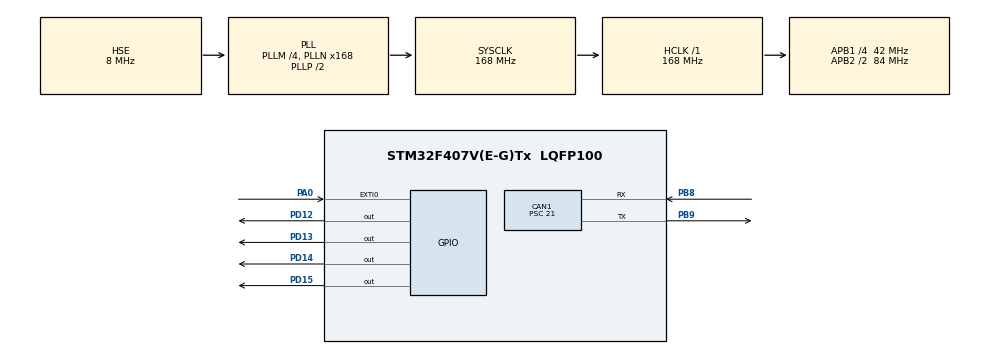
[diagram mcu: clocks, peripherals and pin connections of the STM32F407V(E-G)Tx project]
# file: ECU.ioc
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CAN1.BS1=CAN_BS1_2TQ
CAN1.CalculateBaudRate=500000
CAN1.CalculateTimeBit=2000
CAN1.CalculateTimeQuantum=500.0
CAN1.NART=ENABLE
CAN1.Prescaler=21
Mcu.Family=STM32F4
Mcu.Name=STM32F407V(E-G)Tx
Mcu.Package=LQFP100
NVIC.CAN1_RX1_IRQn=true\:0\:0\:false\:false\:true\:true\:true\:true
NVIC.PriorityGroup=NVIC_PRIORITYGROUP_0
PA0-WKUP.Signal=GPXTI0
PA13.Mode=Serial_Wire
PA13.Signal=SYS_JTMS-SWDIO
PA14.Mode=Serial_Wire
PA14.Signal=SYS_JTCK-SWCLK
PB8.GPIO_PuPd=GPIO_PULLUP
PB8.Mode=CAN_Activate
PB8.Signal=CAN1_RX
PB9.Mode=CAN_Activate
PB9.Signal=CAN1_TX
PD12.Signal=GPIO_Output
PD13.Signal=GPIO_Output
PD14.Signal=GPIO_Output
PD15.Signal=GPIO_Output
PH0-OSC_IN.Mode=HSE-External-Oscillator
PH0-OSC_IN.Signal=RCC_OSC_IN
PH1-OSC_OUT.Mode=HSE-External-Oscillator
PH1-OSC_OUT.Signal=RCC_OSC_OUT
ProjectManager.HeapSize=0x200
ProjectManager.StackSize=0x400
ProjectManager.TargetToolchain=STM32CubeIDE
RCC.48MHZClocksFreq_Value=48000000
RCC.AHBFreq_Value=168000000
RCC.APB1CLKDivider=RCC_HCLK_DIV4
RCC.APB1Freq_Value=42000000
RCC.APB1TimFreq_Value=84000000
RCC.APB2CLKDivider=RCC_HCLK_DIV2
RCC.APB2Freq_Value=84000000
RCC.APB2TimFreq_Value=168000000
RCC.CortexFreq_Value=168000000
RCC.HCLKFreq_Value=168000000
RCC.HSE_VALUE=8000000
RCC.HSI_VALUE=16000000
RCC.LSE_VALUE=32768
RCC.PLLM=4
RCC.PLLN=168
RCC.PLLQ=7
RCC.PLLSourceVirtual=RCC_PLLSOURCE_HSE
RCC.SYSCLKFreq_VALUE=168000000
RCC.SYSCLKSource=RCC_SYSCLKSOURCE_PLLCLK
RCC.VCOOutputFreq_Value=336000000
board=STM32F407G-DISC1

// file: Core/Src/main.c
/* USER CODE BEGIN Header */
/**
  ******************************************************************************
  * @file           : main.c
  * @brief          : Main program body
  ******************************************************************************
  * @attention
  *
  * Copyright (c) 2024 STMicroelectronics.
  * All rights reserved.
  *
  * This software is licensed under terms that can be found in the LICENSE file
  * in the root directory of this software component.
  * If no LICENSE file comes with this software, it is provided AS-IS.
  *
  ******************************************************************************
  */
/* USER CODE END Header */
#include "main.h"

CAN_HandleTypeDef hcan1;

void SystemClock_Config(void);
static void MX_GPIO_Init(void);
static void MX_CAN1_Init(void);

/* USER CODE BEGIN 0 */
CAN_TxHeaderTypeDef TxHeader;
CAN_RxHeaderTypeDef RxHeader;

uint8_t TxData[8];
uint8_t RxData[8];

uint32_t TxMailbox;

uint8_t datacheck = 0;

uint8_t mapaACT = 1;
uint8_t TC = 0; //Traction control
uint8_t LC = 0; //Launch control

void SEND_MESSAGE(){ //Mandar una secuencia de datos u otra segun el mapa activo
	 TxHeader.DLC = 2; //Data length
	 TxHeader.IDE = CAN_ID_STD;
	 TxHeader.RTR = CAN_RTR_DATA;
	 TxHeader.StdId = 0x103; //ID

    switch (mapaACT){
    case 1:
    	TxData[0] = 0x81;
    	break;
    case 2:
    	TxData[0] = 0x82;
    	break;
    case 3:
    	TxData[0] = 0x84;
    	break;
    case 4:
    	TxData[0] = 0x88;
    	break;
    case 5:
    	TxData[0] = 0x90;
    	break;
    }

    if (TC == 0 && LC == 0){
    	TxData[1] = 0x80;
    } else if (TC == 1 && LC == 0){
    	TxData[1] = 0x81;
    } else if (TC == 0 && LC == 1){
        TxData[1] = 0x82;
    } else if (TC == 1 && LC == 1){
    	TxData[1] = 0x83;
    }

	HAL_CAN_AddTxMessage(&hcan1, &TxHeader, TxData, &TxMailbox);
}//<-- falta traction y launch control

void RECEIVE_MESSAGE(){
	switch (RxData[0]){
	    case 0x01:
	    	HAL_GPIO_WritePin(GPIOD, GPIO_PIN_14, 1);
	    	HAL_GPIO_WritePin(GPIOD, GPIO_PIN_13, 0);
	    	HAL_GPIO_WritePin(GPIOD, GPIO_PIN_12, 0);
	    	HAL_GPIO_WritePin(GPIOD, GPIO_PIN_11, 0);
	    	HAL_GPIO_WritePin(GPIOD, GPIO_PIN_10, 0);
	    	mapaACT = 1;
	    	break;
	    case 0x02:
	    	HAL_GPIO_WritePin(GPIOD, GPIO_PIN_13, 1);
	    	HAL_GPIO_WritePin(GPIOD, GPIO_PIN_14, 0);
	    	HAL_GPIO_WritePin(GPIOD, GPIO_PIN_12, 0);
	    	HAL_GPIO_WritePin(GPIOD, GPIO_PIN_11, 0);
	    	HAL_GPIO_WritePin(GPIOD, GPIO_PIN_10, 0);
	    	mapaACT = 2;
	    	break;
	    case 0x04:
	    	HAL_GPIO_WritePin(GPIOD, GPIO_PIN_12, 1);
	    	HAL_GPIO_WritePin(GPIOD, GPIO_PIN_13, 0);
	    	HAL_GPIO_WritePin(GPIOD, GPIO_PIN_14, 0);
	    	HAL_GPIO_WritePin(GPIOD, GPIO_PIN_11, 0);
	    	HAL_GPIO_WritePin(GPIOD, GPIO_PIN_10, 0);
	    	mapaACT = 3;
	    	break;
	    case 0x08:
	    	HAL_GPIO_WritePin(GPIOD, GPIO_PIN_11, 1);
	    	HAL_GPIO_WritePin(GPIOD, GPIO_PIN_13, 0);
	    	HAL_GPIO_WritePin(GPIOD, GPIO_PIN_12, 0);
	    	HAL_GPIO_WritePin(GPIOD, GPIO_PIN_14, 0);
	    	HAL_GPIO_WritePin(GPIOD, GPIO_PIN_10, 0);
	    	mapaACT = 4;
	    	break;
	    case 0x10:
	    	HAL_GPIO_WritePin(GPIOD, GPIO_PIN_10, 1);
	    	HAL_GPIO_WritePin(GPIOD, GPIO_PIN_13, 0);
	    	HAL_GPIO_WritePin(GPIOD, GPIO_PIN_12, 0);
	    	HAL_GPIO_WritePin(GPIOD, GPIO_PIN_11, 0);
	    	HAL_GPIO_WritePin(GPIOD, GPIO_PIN_14, 0);
	    	mapaACT = 5;
	    	break;
	}

	switch (RxData[1]){
	    case 0x00:
	    	HAL_GPIO_WritePin(GPIOD, GPIO_PIN_8, 0);
	    	HAL_GPIO_WritePin(GPIOD, GPIO_PIN_9, 0);
	    	TC = 0;
	    	LC = 0;
	    	break;
	    case 0x01:
	    	HAL_GPIO_WritePin(GPIOD, GPIO_PIN_9, 1);
	    	HAL_GPIO_WritePin(GPIOD, GPIO_PIN_8, 0);
	    	TC = 1;
	    	LC = 0;
	    	break;
	    case 0x02:
	    	HAL_GPIO_WritePin(GPIOD, GPIO_PIN_8, 1);
	    	HAL_GPIO_WritePin(GPIOD, GPIO_PIN_9, 0);
	    	TC = 0;
	    	LC = 1;
	    	break;
	    case 0x03:
	    	HAL_GPIO_WritePin(GPIOD, GPIO_PIN_8, 1);
	    	HAL_GPIO_WritePin(GPIOD, GPIO_PIN_9, 1);
	    	TC = 1;
	    	LC = 1;
	    	break;
	}
	SEND_MESSAGE();
}

void HAL_CAN_RxFifo1MsgPendingCallback(CAN_HandleTypeDef *hcan){ //Para recibir mensajes del bus //<-- REVISAR hcan o hcan1
	HAL_CAN_GetRxMessage(hcan, CAN_RX_FIFO1, &RxHeader, RxData);
	if (RxHeader.DLC == 1){
		RECEIVE_MESSAGE();
	}
}

/* USER CODE END 0 */

int main(void)
{

  /* MCU Configuration--------------------------------------------------------*/

  /* Reset of all peripherals, Initializes the Flash interface and the Systick. */
  HAL_Init();

  /* Configure the system clock */
  SystemClock_Config();

  /* Initialize all configured peripherals */
  MX_GPIO_Init();
  MX_CAN1_Init();
  /* USER CODE BEGIN 2 */
  HAL_CAN_Start(&hcan1);

      //Activar la notificacion
      HAL_CAN_ActivateNotification(&hcan1, CAN_IT_RX_FIFO1_MSG_PENDING);

      HAL_GPIO_WritePin(GPIOD, GPIO_PIN_14, 1);

  /* USER CODE END 2 */

  /* Infinite loop */
  while (1)
  {

  }
}

void SystemClock_Config(void)
{
  RCC_OscInitTypeDef RCC_OscInitStruct = {0};
  RCC_ClkInitTypeDef RCC_ClkInitStruct = {0};

  /** Configure the main internal regulator output voltage
  */
  __HAL_RCC_PWR_CLK_ENABLE();
  __HAL_PWR_VOLTAGESCALING_CONFIG(PWR_REGULATOR_VOLTAGE_SCALE1);

  /** Initializes the RCC Oscillators according to the specified parameters
  * in the RCC_OscInitTypeDef structure.
  */
  RCC_OscInitStruct.OscillatorType = RCC_OSCILLATORTYPE_HSE;
  RCC_OscInitStruct.HSEState = RCC_HSE_ON;
  RCC_OscInitStruct.PLL.PLLState = RCC_PLL_ON;
  RCC_OscInitStruct.PLL.PLLSource = RCC_PLLSOURCE_HSE;
  RCC_OscInitStruct.PLL.PLLM = 4;
  RCC_OscInitStruct.PLL.PLLN = 168;
  RCC_OscInitStruct.PLL.PLLP = RCC_PLLP_DIV2;
  RCC_OscInitStruct.PLL.PLLQ = 7;
  if (HAL_RCC_OscConfig(&RCC_OscInitStruct) != HAL_OK)
  {
    Error_Handler();
  }

  /** Initializes the CPU, AHB and APB buses clocks
  */
  RCC_ClkInitStruct.ClockType = RCC_CLOCKTYPE_HCLK|RCC_CLOCKTYPE_SYSCLK
                              |RCC_CLOCKTYPE_PCLK1|RCC_CLOCKTYPE_PCLK2;
  RCC_ClkInitStruct.SYSCLKSource = RCC_SYSCLKSOURCE_PLLCLK;
  RCC_ClkInitStruct.AHBCLKDivider = RCC_SYSCLK_DIV1;
  RCC_ClkInitStruct.APB1CLKDivider = RCC_HCLK_DIV4;
  RCC_ClkInitStruct.APB2CLKDivider = RCC_HCLK_DIV2;

  if (HAL_RCC_ClockConfig(&RCC_ClkInitStruct, FLASH_LATENCY_5) != HAL_OK)
  {
    Error_Handler();
  }
}

static void MX_CAN1_Init(void)
{

  hcan1.Instance = CAN1;
  hcan1.Init.Prescaler = 21;
  hcan1.Init.Mode = CAN_MODE_NORMAL;
  hcan1.Init.SyncJumpWidth = CAN_SJW_1TQ;
  hcan1.Init.TimeSeg1 = CAN_BS1_2TQ;
  hcan1.Init.TimeSeg2 = CAN_BS2_1TQ;
  hcan1.Init.TimeTriggeredMode = DISABLE;
  hcan1.Init.AutoBusOff = DISABLE;
  hcan1.Init.AutoWakeUp = DISABLE;
  hcan1.Init.AutoRetransmission = ENABLE;
  hcan1.Init.ReceiveFifoLocked = DISABLE;
  hcan1.Init.TransmitFifoPriority = DISABLE;
  if (HAL_CAN_Init(&hcan1) != HAL_OK)
  {
    Error_Handler();
  }
  /* USER CODE BEGIN CAN1_Init 2 */
  CAN_FilterTypeDef canfilterconfig;

      canfilterconfig.FilterActivation = CAN_FILTER_ENABLE;
      canfilterconfig.FilterBank = 10; //which filter bank to use from the assigned ones
      canfilterconfig.FilterFIFOAssignment = CAN_FILTER_FIFO1;
      canfilterconfig.FilterIdHigh = 0x558<<5;
      canfilterconfig.FilterIdLow = 0x0000;
      canfilterconfig.FilterMaskIdHigh = 0x558<<5; //Escribo en la posicion 5
      canfilterconfig.FilterMaskIdLow = 0x0000;
      canfilterconfig.FilterMode = CAN_FILTERMODE_IDMASK;
      canfilterconfig.FilterScale = CAN_FILTERSCALE_32BIT;
      canfilterconfig.SlaveStartFilterBank = 18; //doesn't matter in single can controllers

      HAL_CAN_ConfigFilter(&hcan1, &canfilterconfig);
  /* USER CODE END CAN1_Init 2 */

}

static void MX_GPIO_Init(void)
{
  GPIO_InitTypeDef GPIO_InitStruct = {0};

  /* GPIO Ports Clock Enable */
  __HAL_RCC_GPIOH_CLK_ENABLE();
  __HAL_RCC_GPIOA_CLK_ENABLE();
  __HAL_RCC_GPIOD_CLK_ENABLE();
  __HAL_RCC_GPIOB_CLK_ENABLE();

  /*Configure GPIO pin Output Level */
  HAL_GPIO_WritePin(GPIOD, GPIO_PIN_12|GPIO_PIN_13|GPIO_PIN_14|GPIO_PIN_15, GPIO_PIN_RESET);

  /*Configure GPIO pin : PA0 */
  GPIO_InitStruct.Pin = GPIO_PIN_0;
  GPIO_InitStruct.Mode = GPIO_MODE_IT_RISING;
  GPIO_InitStruct.Pull = GPIO_NOPULL;
  HAL_GPIO_Init(GPIOA, &GPIO_InitStruct);

  /*Configure GPIO pins : PD12 PD13 PD14 PD15 */
  GPIO_InitStruct.Pin = GPIO_PIN_12|GPIO_PIN_13|GPIO_PIN_14|GPIO_PIN_15;
  GPIO_InitStruct.Mode = GPIO_MODE_OUTPUT_PP;
  GPIO_InitStruct.Pull = GPIO_NOPULL;
  GPIO_InitStruct.Speed = GPIO_SPEED_FREQ_LOW;
  HAL_GPIO_Init(GPIOD, &GPIO_InitStruct);

}

void Error_Handler(void)
{
  __disable_irq();
  while (1)
  {
  }
}
